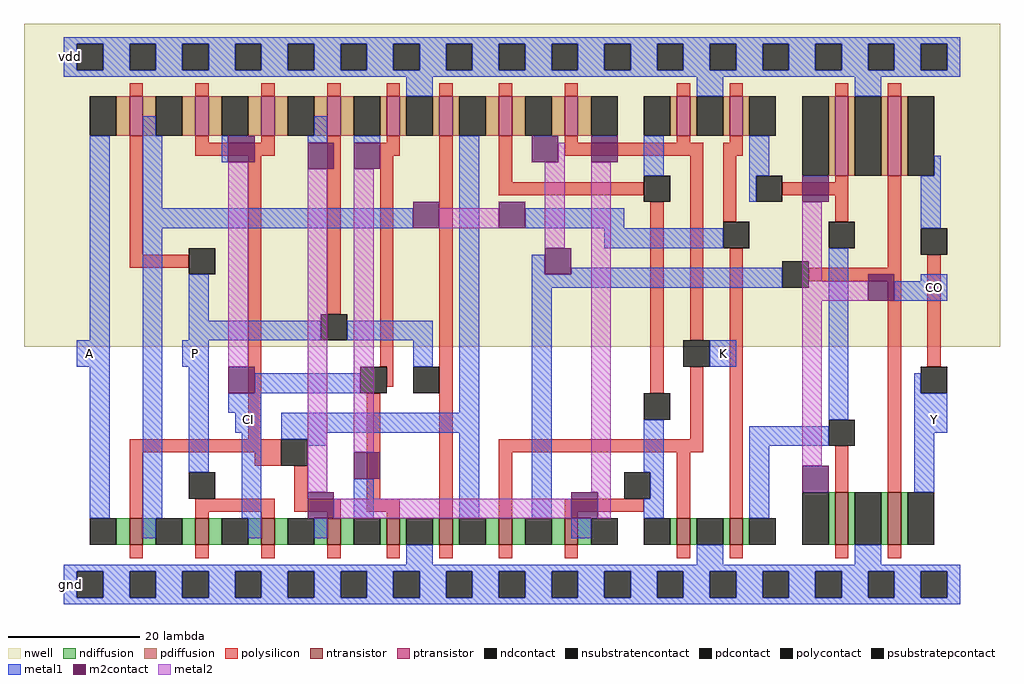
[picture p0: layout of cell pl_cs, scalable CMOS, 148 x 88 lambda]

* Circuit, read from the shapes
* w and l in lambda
.subckt pl_cs P A CI K CO Y vdd gnd
M1 n1 n2 A gnd nfet w=4 l=2
M2 CI P n1 gnd nfet w=4 l=2
M3 n3 P CI gnd nfet w=4 l=2
M4 n4 n2 n3 gnd nfet w=4 l=2
M5 gnd CI n4 gnd nfet w=4 l=2
M6 n2 P gnd gnd nfet w=4 l=2
M7 n5 K n2 gnd nfet w=4 l=2
M8 n3 n6 n5 gnd nfet w=4 l=2
M9 gnd K n6 gnd nfet w=4 l=2
M10 n7 n1 gnd gnd nfet w=4 l=2
M11 gnd n7 CO gnd nfet w=8 l=2
M12 Y n5 gnd gnd nfet w=8 l=2
M13 n1 P A vdd pfet w=6 l=2
M14 CI n2 n1 vdd pfet w=6 l=2
M15 n3 n2 CI vdd pfet w=6 l=2
M16 n4 P n3 vdd pfet w=6 l=2
M17 vdd CI n4 vdd pfet w=6 l=2
M18 n2 P vdd vdd pfet w=6 l=2
M19 n5 n6 n2 vdd pfet w=6 l=2
M20 n3 K n5 vdd pfet w=6 l=2
M21 vdd K n6 vdd pfet w=6 l=2
M22 n7 n1 vdd vdd pfet w=6 l=2
M23 vdd n7 CO vdd pfet w=12 l=2
M24 Y n5 vdd vdd pfet w=12 l=2
.ends

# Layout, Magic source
magic
tech scmos
<< nwell >>
rect -6 36 142 85
<< ndiffusion >>
rect 8 6 10 10
rect 12 6 14 10
rect 18 6 20 10
rect 22 6 24 10
rect 28 6 30 10
rect 32 6 34 10
rect 38 6 40 10
rect 42 6 44 10
rect 48 6 49 10
rect 51 6 52 10
rect 56 6 57 10
rect 59 6 60 10
rect 64 6 66 10
rect 68 6 70 10
rect 74 6 76 10
rect 78 6 80 10
rect 92 6 93 10
rect 95 6 96 10
rect 100 6 101 10
rect 103 6 104 10
rect 116 6 117 14
rect 119 6 120 14
rect 124 6 125 14
rect 127 6 128 14
<< pdiffusion >>
rect 116 62 117 74
rect 119 62 120 74
rect 124 62 125 74
rect 127 62 128 74
rect 8 68 10 74
rect 12 68 14 74
rect 18 68 20 74
rect 22 68 24 74
rect 28 68 30 74
rect 32 68 34 74
rect 38 68 40 74
rect 42 68 44 74
rect 48 68 49 74
rect 51 68 52 74
rect 56 68 57 74
rect 59 68 60 74
rect 64 68 66 74
rect 68 68 70 74
rect 74 68 76 74
rect 78 68 80 74
rect 92 68 93 74
rect 95 68 96 74
rect 100 68 101 74
rect 103 68 104 74
<< polysilicon >>
rect 10 4 12 6
rect 20 4 22 6
rect 30 4 32 6
rect 40 4 42 6
rect 49 4 51 6
rect 57 4 59 6
rect 66 4 68 6
rect 76 4 78 6
rect 93 4 95 6
rect 101 4 103 6
rect 117 4 119 6
rect 125 4 127 6
rect 10 10 12 20
rect 20 10 22 11
rect 30 10 32 11
rect 40 10 42 11
rect 49 10 51 11
rect 57 10 59 68
rect 66 10 68 20
rect 76 10 78 11
rect 93 10 95 20
rect 101 10 103 51
rect 20 11 32 13
rect 35 11 42 13
rect 46 11 51 13
rect 76 11 88 13
rect 35 13 37 18
rect 46 13 48 29
rect 117 14 119 21
rect 125 14 127 46
rect 29 18 33 20
rect 10 20 33 22
rect 66 20 97 22
rect 28 22 30 65
rect 95 22 97 33
rect 89 29 91 58
rect 49 30 50 33
rect 48 33 50 65
rect 131 33 133 50
rect 95 37 97 65
rect 40 41 42 68
rect 113 46 127 48
rect 10 48 19 50
rect 125 48 127 62
rect 10 50 12 68
rect 100 55 102 65
rect 117 55 119 59
rect 66 59 88 61
rect 109 59 119 61
rect 66 61 68 68
rect 117 61 119 62
rect 20 65 32 67
rect 48 65 51 67
rect 76 65 97 67
rect 100 65 103 67
rect 20 67 22 68
rect 30 67 32 68
rect 49 67 51 68
rect 76 67 78 68
rect 93 67 95 68
rect 101 67 103 68
rect 10 74 12 76
rect 20 74 22 76
rect 30 74 32 76
rect 40 74 42 76
rect 49 74 51 76
rect 57 74 59 76
rect 66 74 68 76
rect 76 74 78 76
rect 93 74 95 76
rect 101 74 103 76
rect 117 74 119 76
rect 125 74 127 76
<< ntransistor >>
rect 10 6 12 10
rect 20 6 22 10
rect 30 6 32 10
rect 40 6 42 10
rect 49 6 51 10
rect 57 6 59 10
rect 66 6 68 10
rect 76 6 78 10
rect 93 6 95 10
rect 101 6 103 10
rect 117 6 119 14
rect 125 6 127 14
<< ptransistor >>
rect 117 62 119 74
rect 125 62 127 74
rect 10 68 12 74
rect 20 68 22 74
rect 30 68 32 74
rect 40 68 42 74
rect 49 68 51 74
rect 57 68 59 74
rect 66 68 68 74
rect 76 68 78 74
rect 93 68 95 74
rect 101 68 103 74
<< ndcontact >>
rect 4 6 8 10
rect 14 6 18 10
rect 24 6 28 10
rect 34 6 38 10
rect 44 6 48 10
rect 52 6 56 10
rect 60 6 64 10
rect 70 6 74 10
rect 80 6 84 10
rect 88 6 92 10
rect 96 6 100 10
rect 104 6 108 10
rect 112 6 116 14
rect 120 6 124 14
rect 128 6 132 14
<< pdcontact >>
rect 112 62 116 74
rect 120 62 124 74
rect 128 62 132 74
rect 4 68 8 74
rect 14 68 18 74
rect 24 68 28 74
rect 34 68 38 74
rect 44 68 48 74
rect 52 68 56 74
rect 60 68 64 74
rect 70 68 74 74
rect 80 68 84 74
rect 88 68 92 74
rect 96 68 100 74
rect 104 68 108 74
<< polycontact >>
rect 19 13 23 17
rect 85 13 89 17
rect 33 18 37 22
rect 116 21 120 25
rect 88 25 92 29
rect 45 29 49 33
rect 53 29 57 33
rect 130 29 134 33
rect 94 33 98 37
rect 39 37 43 41
rect 109 45 113 49
rect 19 47 23 51
rect 130 50 134 54
rect 100 51 104 55
rect 116 51 120 55
rect 88 58 92 62
rect 105 58 109 62
<< psubstratepcontact >>
rect 2 -2 6 2
rect 10 -2 14 2
rect 18 -2 22 2
rect 26 -2 30 2
rect 34 -2 38 2
rect 42 -2 46 2
rect 50 -2 54 2
rect 58 -2 62 2
rect 66 -2 70 2
rect 74 -2 78 2
rect 82 -2 86 2
rect 90 -2 94 2
rect 98 -2 102 2
rect 106 -2 110 2
rect 114 -2 118 2
rect 122 -2 126 2
rect 130 -2 134 2
<< nsubstratencontact >>
rect 2 78 6 82
rect 10 78 14 82
rect 18 78 22 82
rect 26 78 30 82
rect 34 78 38 82
rect 42 78 46 82
rect 50 78 54 82
rect 58 78 62 82
rect 66 78 70 82
rect 74 78 78 82
rect 82 78 86 82
rect 90 78 94 82
rect 98 78 102 82
rect 106 78 110 82
rect 114 78 118 82
rect 122 78 126 82
rect 130 78 134 82
<< metal1 >>
rect 0 -3 136 -2
rect 0 -2 2 2
rect 6 -2 10 2
rect 14 -2 18 2
rect 22 -2 26 2
rect 30 -2 34 2
rect 38 -2 42 2
rect 46 -2 50 2
rect 54 -2 58 2
rect 62 -2 66 2
rect 70 -2 74 2
rect 78 -2 82 2
rect 86 -2 90 2
rect 94 -2 98 2
rect 102 -2 106 2
rect 110 -2 114 2
rect 118 -2 122 2
rect 126 -2 130 2
rect 134 -2 136 2
rect 0 2 136 3
rect 52 3 56 6
rect 96 3 100 6
rect 120 3 124 6
rect 12 7 14 10
rect 28 7 30 10
rect 38 7 40 10
rect 77 7 80 10
rect 4 10 7 33
rect 12 10 15 54
rect 27 10 30 23
rect 44 10 47 16
rect 60 10 63 23
rect 71 10 74 45
rect 88 10 91 13
rect 104 10 107 21
rect 89 13 91 17
rect 129 14 132 23
rect 19 17 22 33
rect 88 17 91 25
rect 37 21 40 22
rect 104 21 116 24
rect 33 22 40 23
rect 26 23 30 26
rect 33 23 63 26
rect 129 23 134 29
rect 116 25 119 51
rect 25 26 30 29
rect 60 26 63 68
rect 29 29 45 32
rect 129 29 130 32
rect 2 33 7 37
rect 18 33 22 37
rect 53 33 56 37
rect 98 33 102 37
rect 4 37 7 68
rect 19 37 39 40
rect 43 37 56 40
rect 19 40 22 47
rect 126 43 134 46
rect 71 45 109 47
rect 130 46 134 47
rect 71 47 73 50
rect 77 47 109 48
rect 82 51 100 54
rect 12 54 53 57
rect 70 54 85 57
rect 130 54 133 62
rect 12 57 15 68
rect 104 58 105 62
rect 88 62 91 68
rect 104 62 107 68
rect 132 62 133 65
rect 24 64 25 68
rect 37 67 40 68
rect 44 67 48 68
rect 12 68 14 71
rect 38 68 40 71
rect 52 74 56 77
rect 96 74 100 77
rect 120 74 124 77
rect 0 77 136 78
rect 0 78 2 82
rect 6 78 10 82
rect 14 78 18 82
rect 22 78 26 82
rect 30 78 34 82
rect 38 78 42 82
rect 46 78 50 82
rect 54 78 58 82
rect 62 78 66 82
rect 70 78 74 82
rect 78 78 82 82
rect 86 78 90 82
rect 94 78 98 82
rect 102 78 106 82
rect 110 78 114 82
rect 118 78 122 82
rect 126 78 130 82
rect 134 78 136 82
rect 0 82 136 83
<< m2contact >>
rect 37 10 41 14
rect 77 10 81 14
rect 112 14 116 18
rect 44 16 48 20
rect 25 29 29 33
rect 122 43 126 47
rect 73 47 77 51
rect 53 54 57 58
rect 66 54 70 58
rect 112 58 116 62
rect 37 63 41 67
rect 44 63 48 67
rect 25 64 29 68
rect 71 64 75 68
rect 80 64 84 68
<< metal2 >>
rect 41 10 77 13
rect 81 10 83 14
rect 37 14 40 63
rect 80 14 83 64
rect 112 18 115 43
rect 44 20 47 63
rect 25 33 28 64
rect 112 43 122 46
rect 112 46 115 58
rect 73 51 76 64
rect 57 54 66 57
rect 75 64 76 67
<< labels >>
rlabel metal1 s 18 33 22 37 0 P
port 1 nsew signal input
rlabel metal1 s 2 33 6 37 0 A
port 2 nsew signal input
rlabel metal1 s 26 23 30 27 0 CI
port 3 nsew signal input
rlabel metal1 s 98 33 102 37 0 K
port 4 nsew signal input
rlabel metal1 s 130 43 134 47 0 CO
port 5 nsew signal output
rlabel metal1 s 130 23 134 27 0 Y
port 6 nsew signal output
rlabel metal1 s 0 77 2 83 0 vdd
port 7 nsew power bidirectional
rlabel metal1 s 0 -3 2 3 0 gnd
port 8 nsew ground bidirectional
<< properties >>
string FIXED_BBOX 0 0 136 80
<< end >>
